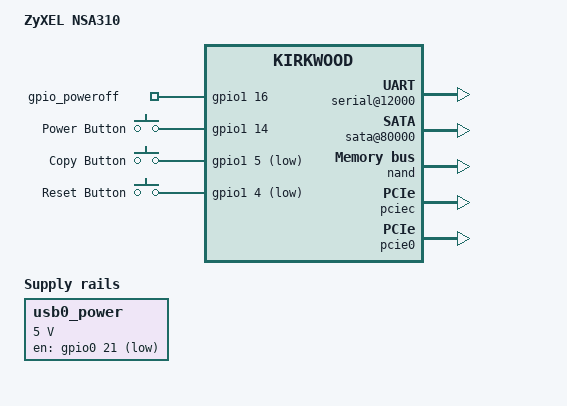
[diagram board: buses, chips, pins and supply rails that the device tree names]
// SPDX-License-Identifier: GPL-2.0
#include "kirkwood.dtsi"
#include "kirkwood-6281.dtsi"

/ {
	model = "ZyXEL NSA310";

	ocp@f1000000 {
		pinctrl: pin-controller@10000 {

			pmx_usb_power: pmx-usb-power {
				marvell,pins = "mpp21";
				marvell,function = "gpio";
			};

			pmx_pwr_off: pmx-pwr-off {
				marvell,pins = "mpp48";
				marvell,function = "gpio";
			};

			pmx_btn_reset: pmx-btn-reset {
				marvell,pins = "mpp36";
				marvell,function = "gpio";
			};

			pmx_btn_copy: pmx-btn-copy {
				marvell,pins = "mpp37";
				marvell,function = "gpio";
			};

			pmx_btn_power: pmx-btn-power {
				marvell,pins = "mpp46";
				marvell,function = "gpio";
			};

			pmx_led_copy_green: pmx-led-copy-green {
				marvell,pins = "mpp39";
				marvell,function = "gpio";
			};

			pmx_led_copy_red: pmx-led-copy-red {
				marvell,pins = "mpp40";
				marvell,function = "gpio";
			};
		};

		serial@12000 {
			status = "okay";
		};

		sata@80000 {
			status = "okay";
			nr-ports = <2>;
		};
	};

	gpio_poweroff {
		compatible = "gpio-poweroff";
		pinctrl-0 = <&pmx_pwr_off>;
		pinctrl-names = "default";
		gpios = <&gpio1 16 GPIO_ACTIVE_HIGH>;
	};

	gpio_keys {
		compatible = "gpio-keys";
		#address-cells = <1>;
		#size-cells = <0>;
		pinctrl-0 = <&pmx_btn_reset &pmx_btn_copy &pmx_btn_power>;
		pinctrl-names = "default";

		power {
			label = "Power Button";
			linux,code = <KEY_POWER>;
			gpios = <&gpio1 14 GPIO_ACTIVE_HIGH>;
		};
		copy {
			label = "Copy Button";
			linux,code = <KEY_COPY>;
			gpios = <&gpio1 5 GPIO_ACTIVE_LOW>;
		};
		reset {
			label = "Reset Button";
			linux,code = <KEY_RESTART>;
			gpios = <&gpio1 4 GPIO_ACTIVE_LOW>;
		};
	};


	regulators {
		compatible = "simple-bus";
		#address-cells = <1>;
		#size-cells = <0>;
		pinctrl-0 = <&pmx_usb_power>;
		pinctrl-names = "default";

		usb0_power: regulator@1 {
			compatible = "regulator-fixed";
			reg = <1>;
			regulator-name = "USB Power";
			regulator-min-microvolt = <5000000>;
			regulator-max-microvolt = <5000000>;
			regulator-always-on;
			regulator-boot-on;
			gpio = <&gpio0 21 GPIO_ACTIVE_HIGH>;
		};
	};
};

&nand {
	status = "okay";
	chip-delay = <35>;

	partition@0 {
		label = "uboot";
		reg = <0x0000000 0x0100000>;
		read-only;
	};
	partition@100000 {
		label = "uboot_env";
		reg = <0x0100000 0x0080000>;
	};
	partition@180000 {
		label = "key_store";
		reg = <0x0180000 0x0080000>;
	};
	partition@200000 {
		label = "info";
		reg = <0x0200000 0x0080000>;
	};
	partition@280000 {
		label = "etc";
		reg = <0x0280000 0x0a00000>;
	};
	partition@c80000 {
		label = "kernel_1";
		reg = <0x0c80000 0x0a00000>;
	};
	partition@1680000 {
		label = "rootfs1";
		reg = <0x1680000 0x2fc0000>;
	};
	partition@4640000 {
		label = "kernel_2";
		reg = <0x4640000 0x0a00000>;
	};
	partition@5040000 {
		label = "rootfs2";
		reg = <0x5040000 0x2fc0000>;
	};
};

&pciec {
	status = "okay";
};

&pcie0 {
	status = "okay";
};
